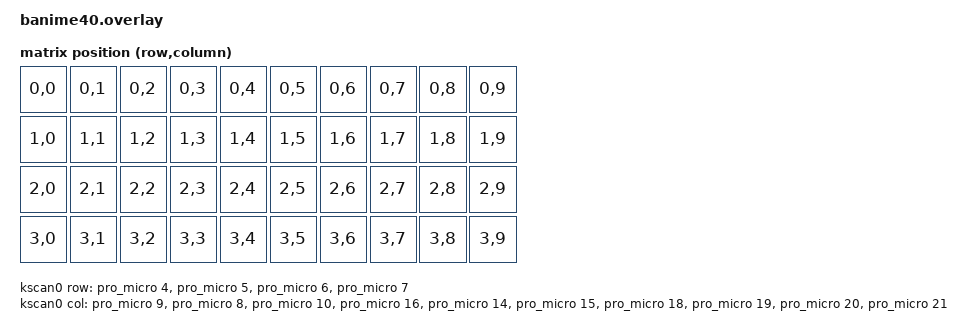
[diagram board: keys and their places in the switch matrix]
/*
 * banime40 — ZMK shield overlay
 * Ported from QMK keyboard.json (sporewoh/banime40)
 *
 * Matrix: 4 rows x 10 cols, ortho_4x10, diode direction COL2ROW.
 *
 * Pin mapping QMK (AVR) -> ZMK pro_micro interconnect GPIO index
 * (index == Arduino digital pin number silk-printed on the board):
 *   rows: E6->7  D7->6  C6->5  D4->4
 *   cols: B4->8  B5->9  B6->10 B2->16 B3->14 B1->15 F7->18 F6->19 F5->20 F4->21
 *
 * Trackpad Azoteq TPS43 (IQS572, I2C addr 0x74) — dùng các chân còn trống:
 *   SDA -> 2 (P0.17)   SCL -> 3 (P0.20)   (&pro_micro_i2c = i2c0 của nice_nano_v2)
 *   RDY -> 1 (P0.06)   RST -> 0 (P0.08)
 */

#include <dt-bindings/zmk/matrix_transform.h>

/ {
    chosen {
        zmk,kscan = &kscan0;
        zmk,matrix-transform = &default_transform;
    };

    kscan0: kscan {
        compatible = "zmk,kscan-gpio-matrix";
        diode-direction = "col2row";

        /* COL2ROW: rows are inputs (read), cols are outputs (driven) */
        row-gpios
            = <&pro_micro  4 (GPIO_ACTIVE_HIGH | GPIO_PULL_DOWN)>  /* E6 */
            , <&pro_micro  5 (GPIO_ACTIVE_HIGH | GPIO_PULL_DOWN)>  /* D7 */
            , <&pro_micro  6 (GPIO_ACTIVE_HIGH | GPIO_PULL_DOWN)>  /* C6 */
            , <&pro_micro  7 (GPIO_ACTIVE_HIGH | GPIO_PULL_DOWN)>  /* D4 */
            ;

        col-gpios
            = <&pro_micro  9 GPIO_ACTIVE_HIGH>  /* B4 */
            , <&pro_micro  8 GPIO_ACTIVE_HIGH>  /* B5 */
            , <&pro_micro 10 GPIO_ACTIVE_HIGH>  /* B6 */
            , <&pro_micro 16 GPIO_ACTIVE_HIGH>  /* B2 */
            , <&pro_micro 14 GPIO_ACTIVE_HIGH>  /* B3 */
            , <&pro_micro 15 GPIO_ACTIVE_HIGH>  /* B1 */
            , <&pro_micro 18 GPIO_ACTIVE_HIGH>  /* F7 */
            , <&pro_micro 19 GPIO_ACTIVE_HIGH>  /* F6 */
            , <&pro_micro 20 GPIO_ACTIVE_HIGH>  /* F5 */
            , <&pro_micro 21 GPIO_ACTIVE_HIGH>  /* F4 */
            ;
    };

    default_transform: keymap_transform_0 {
        compatible = "zmk,matrix-transform";
        columns = <10>;
        rows = <4>;
        /* map[row][col] -> RC(row, col), matching LAYOUT_ortho_4x10 */
        map = <
            RC(0,0) RC(0,1) RC(0,2) RC(0,3) RC(0,4) RC(0,5) RC(0,6) RC(0,7) RC(0,8) RC(0,9)
            RC(1,0) RC(1,1) RC(1,2) RC(1,3) RC(1,4) RC(1,5) RC(1,6) RC(1,7) RC(1,8) RC(1,9)
            RC(2,0) RC(2,1) RC(2,2) RC(2,3) RC(2,4) RC(2,5) RC(2,6) RC(2,7) RC(2,8) RC(2,9)
            RC(3,0) RC(3,1) RC(3,2) RC(3,3) RC(3,4) RC(3,5) RC(3,6) RC(3,7) RC(3,8) RC(3,9)
        >;
    };
};

&pro_micro_i2c {
    status = "okay";

    tps43: iqs5xx@74 {
        compatible = "azoteq,iqs5xx";
        reg = <0x74>;
        status = "okay";

        rdy-gpios = <&pro_micro 1 GPIO_ACTIVE_HIGH>;
        reset-gpios = <&pro_micro 0 GPIO_ACTIVE_LOW>;

        /* Gesture: xem dts/bindings/input/azoteq,iqs5xx-common.yaml của driver */
        one-finger-tap;          /* chạm 1 ngón  = click trái */
        two-finger-tap;          /* chạm 2 ngón  = click phải */
        press-and-hold;          /* giữ          = kéo thả */
        press-and-hold-time = <250>;
        scroll;                  /* 2 ngón vuốt  = cuộn dọc/ngang */
        /*
         * Không đặt natural-scroll-x/y: mặc định của driver đã giống Windows
         * (nội dung đi theo ngón tay — vuốt xuống thì trang cuộn lên).
         * Thêm natural-scroll-y nếu muốn kiểu bánh xe chuột (vuốt xuống = cuộn xuống).
         */

        bottom-beta = <5>;
        stationary-threshold = <5>;

        /* Chỉnh hướng theo cách lắp trackpad: switch-xy; flip-x; flip-y; */
        switch-xy;               /* trục X/Y bị hoán đổi theo hướng lắp hiện tại */
    };
};

/ {
    tps43_listener: tps43_listener {
        compatible = "zmk,input-listener";
        device = <&tps43>;
    };
};
